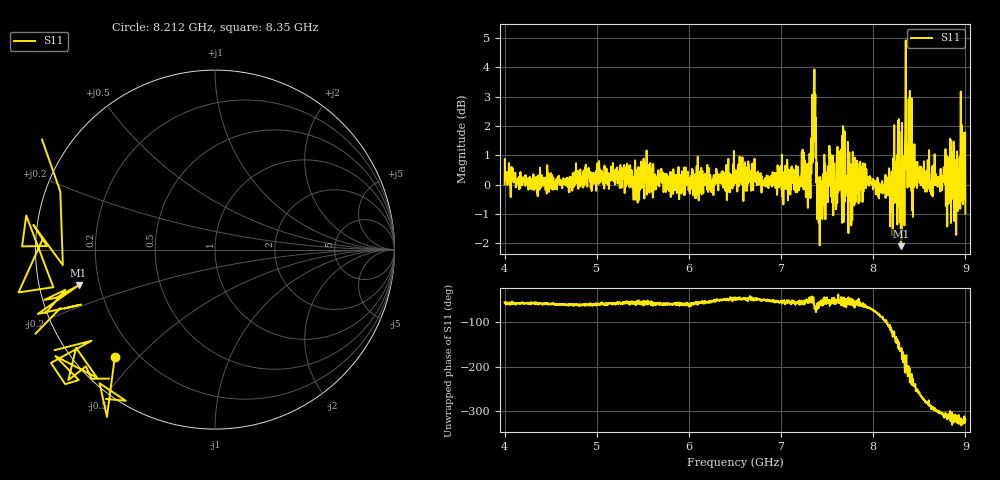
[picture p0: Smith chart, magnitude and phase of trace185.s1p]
! Created with skrf 1.8.0 (http://scikit-rf.org).
# Hz S RI R 50.0
!freq ReS11 ImS11
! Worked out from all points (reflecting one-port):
!   1601 points, 4 GHz to 9 GHz, reference 50 ohm
!   lowest |S11| = -2.1 dB at 8.3 GHz (marker M1), VSWR 8.32, Z = 6.11 - j6.34 ohm
!   phase of S11 starts at -55 deg and turns -265 deg over the sweep
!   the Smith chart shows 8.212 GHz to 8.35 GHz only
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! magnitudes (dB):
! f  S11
! 4 GHz  0.0
! 4.625 GHz  -0.1
! 5.25 GHz  -0.1
! 5.875 GHz  0.2
! 6.5 GHz  0.5
! 7.125 GHz  0.5
! 7.294 GHz  0.5
! 7.356 GHz  3.3
! 7.375 GHz  0.9
! 7.4 GHz  0.1
! 7.416 GHz  -0.8
! 7.538 GHz  1.0
! 7.575 GHz  0.7
! 7.65 GHz  1.2
! 7.75 GHz  0.4
! 7.894 GHz  -0.2
! 8.188 GHz  0.2
! 8.262 GHz  -1.4
! 8.3 GHz  -2.1
! 8.316 GHz  -0.3
! 8.334 GHz  0.2
! 8.375 GHz  1.1
! 8.384 GHz  2.9
! 8.447 GHz  1.4
! 8.847 GHz  1.1
! 8.9 GHz  -1.7
! 8.972 GHz  0.2
! 9 GHz  -1.0
